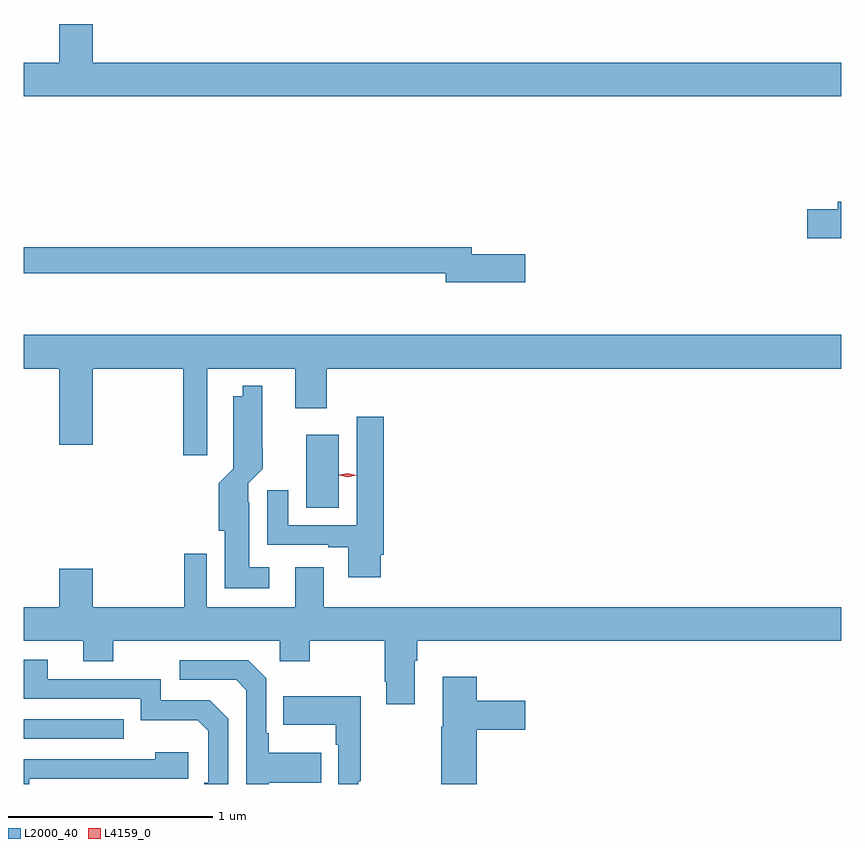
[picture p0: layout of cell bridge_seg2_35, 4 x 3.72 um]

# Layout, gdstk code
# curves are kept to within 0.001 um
import gdstk
lib = gdstk.Library(unit=1e-6, precision=1e-09)
def R(c, l, rs):  # rectangles x0, y0, x1, y1
    for r in rs: c.add(gdstk.rectangle(r[:2], r[2:], *l))
def P(c, l, *ps):  # polygons
    for p in ps: c.add(gdstk.Polygon(p, *l))
L2000_40 = (2000, 40)
L4159_0 = (4159, 0)

bridge_seg2_35 = lib.new_cell('bridge_seg2_35')
R(bridge_seg2_35, L2000_40, [(752.246,637.833,752.735,637.929), (753.629,638.962,753.787,639.319)])
P(bridge_seg2_35, L2000_40, [(756.246,641.14),(752.584,641.14),(752.584,641.329),(752.42,641.329),(752.42,641.14),(752.246,641.14),(752.246,640.976),(756.246,640.976)],
  [(756.246,640.46),(756.227,640.46),(756.227,640.424),(756.078,640.424),(756.078,640.282),(756.246,640.282)],
  [(754.699,640.202),(754.438,640.202),(754.438,640.238),(752.246,640.238),(752.246,640.11),(754.31,640.11),(754.31,640.067),(754.699,640.067)],
  [(753.145,639.644),(753.575,639.644),(753.575,639.45),(753.728,639.45),(753.728,639.644),(756.246,639.644),(756.246,639.808),(752.246,639.808),(752.246,639.644),(752.42,639.644),(752.42,639.27),(752.584,639.27),(752.584,639.644),(753.028,639.644),(753.028,639.219),(753.145,639.219)],
  [(753.448,638.671),(753.349,638.671),(753.349,638.99),(753.345,638.99),(753.345,639.084),(753.415,639.154),(753.414,639.559),(753.317,639.559),(753.317,639.508),(753.272,639.508),(753.272,639.154),(753.2,639.082),(753.2,638.85),(753.23,638.85),(753.23,638.57),(753.448,638.57)],
  [(753.994,638.734),(754.007,638.734),(754.007,639.409),(753.875,639.409),(753.875,638.877),(753.541,638.877),(753.541,639.049),(753.437,639.049),(753.437,638.781),(753.737,638.781),(753.737,638.769),(753.833,638.769),(753.833,638.622),(753.994,638.622)],
  [(754.159,638.216),(754.172,638.216),(754.172,638.312),(756.246,638.312),(756.246,638.476),(753.715,638.476),(753.715,638.671),(753.575,638.671),(753.575,638.476),(753.141,638.476),(753.141,638.737),(753.033,638.737),(753.033,638.476),(752.584,638.476),(752.584,638.665),(752.42,638.665),(752.42,638.476),(752.246,638.476),(752.246,638.312),(752.537,638.312),(752.537,638.213),(752.685,638.213),(752.685,638.312),(753.498,638.312),(753.498,638.213),(753.645,638.213),(753.645,638.312),(754.012,638.312),(754.012,638.113),(754.019,638.113),(754.019,638.001),(754.159,638.001)],
  [(753.246,637.932),(753.156,638.022),(752.916,638.022),(752.916,638.124),(752.365,638.124),(752.365,638.22),(752.246,638.22),(752.246,638.028),(752.82,638.028),(752.82,637.925),(753.097,637.925),(753.15,637.872),(753.15,637.618),(753.13,637.618),(753.13,637.612),(753.246,637.612)],
  [(753.445,637.618),(753.701,637.618),(753.701,637.765),(753.445,637.765),(753.445,637.861),(753.432,637.861),(753.432,638.13),(753.345,638.217),(753.009,638.217),(753.009,638.121),(753.285,638.121),(753.336,638.07),(753.336,637.612),(753.445,637.612)],
  [(754.463,637.877),(754.699,637.877),(754.699,638.019),(754.463,638.019),(754.463,638.137),(754.295,638.137),(754.295,637.893),(754.288,637.893),(754.288,637.612),(754.463,637.612)],
  [(753.883,637.625),(753.895,637.625),(753.895,638.041),(753.517,638.041),(753.517,637.901),(753.774,637.901),(753.774,637.805),(753.786,637.805),(753.786,637.612),(753.883,637.612)],
  [(752.275,637.638),(753.052,637.638),(753.052,637.768),(752.891,637.768),(752.891,637.734),(752.246,637.734),(752.246,637.612),(752.275,637.612)])
P(bridge_seg2_35, L4159_0, [(753.831,639.113),(753.791,639.123),(753.791,639.124),(753.791,639.124),(753.832,639.133),(753.872,639.122),(753.872,639.122),(753.872,639.122)])

lib.write_gds('bridge_seg2_35.gds')
